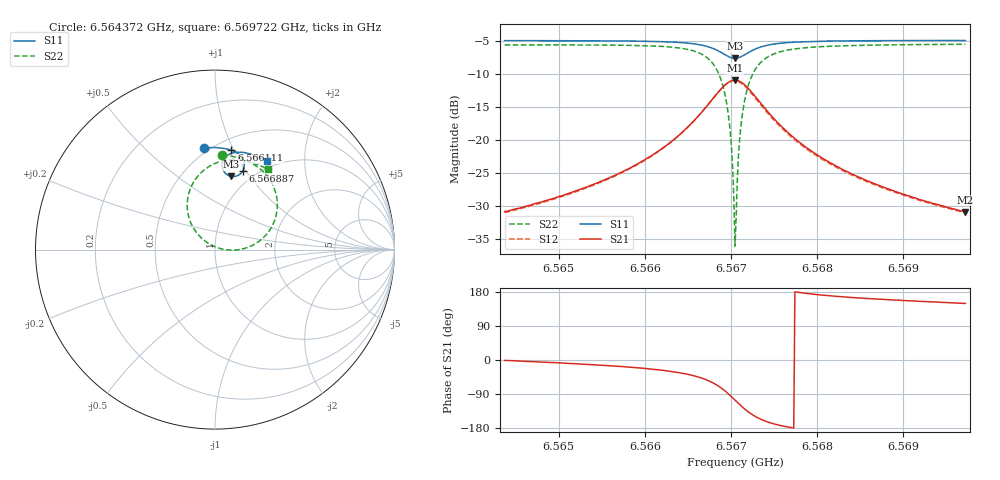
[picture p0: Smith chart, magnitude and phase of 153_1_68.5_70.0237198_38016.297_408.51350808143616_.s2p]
#  HZ  S  RI  R  50.00
! Rohde & Schwarz Vector Network Analyzer
! Rohde-Schwarz,ZNB20-2Port,1311601062101988,3.16
! Created: UTC 3/20/2024, 4:55:21 PM
! freq[Hz]  re:S11  im:S11  re:S21  im:S21  re:S12  im:S12  re:S22  im:S22
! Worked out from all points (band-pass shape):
!   401 points, 6.564372 GHz to 6.569722 GHz, reference 50 ohm
!   highest |S21| = -10.91 dB at 6.567047 GHz (marker M1); lowest = -30.9 dB at 6.569722 GHz (marker M2)
!   |S21| within 3 dB of the highest: 6.566779 GHz to 6.567315 GHz (536.2 kHz wide, 0.00816 % of centre)
!   lowest |S11| = -7.6 dB at 6.567047 GHz (marker M3), VSWR 2.44, Z = 41.3 + j40.9 ohm
!   |S11| at or under -10 dB: nowhere
!   |S22| runs from -36.1 to -5.4 dB; largest |S21 - S12| = 0.014
!   S11 on the Smith chart (normalised r, x): 6.564372 GHz: 0.47, +0.78; 6.566111 GHz: 0.61, +0.98; 6.566887 GHz: 0.87, +0.96; 6.569722 GHz: 0.90, +1.32
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6.5643723e9  -0.0611 0.566  0.0285 -0.000499  0.028 -0.00103  0.0401 0.5265
6.5652683e9  0.0124 0.5678  0.0418 -0.00801  0.0411 -0.00845  0.1259 0.5127
6.5661109e9  0.0918 0.5536  0.0715 -0.0328  0.0703 -0.0337  0.2377 0.4602
6.5661644e9  0.0975 0.5514  0.0745 -0.0363  0.0734 -0.0372  0.2471 0.4527
6.5666726e9  0.1569 0.5002  0.1098 -0.1248  0.1071 -0.1272  0.3452 0.2805
6.566793e9  0.1632 0.4685  0.1019 -0.1803  0.0973 -0.1837  0.3361 0.1745
6.5668866e9  0.1536 0.4368  0.0682 -0.2348  0.0602 -0.2381  0.2753 0.0722
6.5669401e9  0.1381 0.4197  0.0305 -0.2629  0.0201 -0.2644  0.2056 0.0221
6.5669802e9  0.1214 0.4106  -0.00695 -0.2763  -0.0187 -0.2756  0.1371 0.000115
6.567007e9  0.1083 0.4076  -0.0349 -0.2796  -0.0472 -0.2767  0.0864 -0.00291
6.5670337e9  0.0946 0.4076  -0.0638 -0.2771  -0.0761 -0.2722  0.0353 0.0043
6.5670471e9  0.0879 0.4085  -0.0782 -0.2737  -0.09 -0.2678  0.0103 0.0117
6.5670605e9  0.081 0.4105  -0.0921 -0.2691  -0.1034 -0.262  -0.0137 0.022
6.5670738e9  0.0748 0.4131  -0.1053 -0.263  -0.1162 -0.255  -0.0362 0.0345
6.5671006e9  0.0632 0.4204  -0.1294 -0.2475  -0.1387 -0.2377  -0.0762 0.0652
6.5671407e9  0.05 0.4347  -0.1573 -0.2179  -0.164 -0.2066  -0.1206 0.1209
6.5671942e9  0.041 0.4567  -0.1788 -0.1743  -0.1817 -0.1626  -0.1503 0.2001
6.5672611e9  0.041 0.4823  -0.1847 -0.1241  -0.1842 -0.1141  -0.1514 0.2879
6.5675152e9  0.0805 0.5322  -0.1392 -0.0254  -0.1362 -0.0215  -0.048 0.4531
6.5679431e9  0.141 0.5431  -0.0813 0.00858  -0.0794 0.00986  0.0835 0.5005
6.5688392e9  0.2251 0.523  -0.0394 0.0151  -0.0385 0.0154  0.2143 0.4831
6.5697219e9  0.2907 0.4916  -0.0244 0.0145  -0.0239 0.0146  0.2925 0.4473
